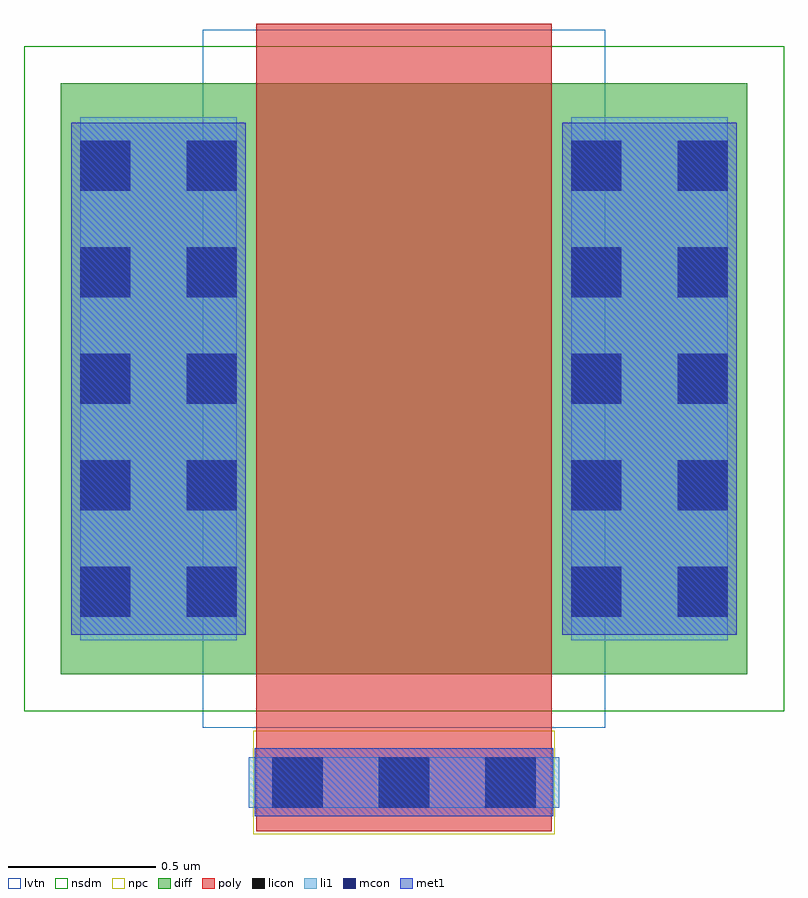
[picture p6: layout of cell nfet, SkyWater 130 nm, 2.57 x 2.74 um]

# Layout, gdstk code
import gdstk
lib = gdstk.Library(unit=1e-6, precision=5e-09)
def R(c, l, rs):  # rectangles x0, y0, x1, y1
    for r in rs: c.add(gdstk.rectangle(r[:2], r[2:], *l))
def A(c, l, x, y, w, h, nx, ny, dx, dy):  # array of equal rectangles
    R(c, l, [(x+i*dx, y+j*dy, x+i*dx+w, y+j*dy+h) for i in range(nx) for j in range(ny)])
diff = (65, 20)
poly = (66, 20)
licon = (66, 44)
li1 = (67, 20)
mcon = (67, 44)
met1 = (68, 20)
nsdm = (93, 44)
npc = (95, 20)
lvtn = (125, 44)

nfet = lib.new_cell('nfet')
R(nfet, diff, [(0,0,2.32,2)])
R(nfet, poly, [(0.66,-0.53,1.66,-0.2), (0.66,-0.2,1.66,2.2)])
A(nfet, licon, 0.715, -0.45, 0.17, 0.17, 3, 1, 0.36, 0)
A(nfet, licon, 0.065, 0.195, 0.17, 0.17, 1, 5, 0, 0.36)
A(nfet, licon, 0.425, 0.195, 0.17, 0.17, 1, 5, 0, 0.36)
A(nfet, licon, 1.725, 0.195, 0.17, 0.17, 1, 5, 0, 0.36)
A(nfet, licon, 2.085, 0.195, 0.17, 0.17, 1, 5, 0, 0.36)
R(nfet, li1, [(0.635,-0.45,1.685,-0.28), (0.065,0.115,0.595,1.885), (1.725,0.115,2.255,1.885)])
A(nfet, mcon, 0.715, -0.45, 0.17, 0.17, 3, 1, 0.36, 0)
A(nfet, mcon, 0.065, 0.195, 0.17, 0.17, 1, 5, 0, 0.36)
A(nfet, mcon, 0.425, 0.195, 0.17, 0.17, 1, 5, 0, 0.36)
A(nfet, mcon, 1.725, 0.195, 0.17, 0.17, 1, 5, 0, 0.36)
A(nfet, mcon, 2.085, 0.195, 0.17, 0.17, 1, 5, 0, 0.36)
R(nfet, met1, [(0.655,-0.48,1.665,-0.25), (0.035,0.135,0.625,1.865), (1.695,0.135,2.285,1.865)])
R(nfet, nsdm, [(-0.125,-0.125,2.445,2.125)])
R(nfet, npc, [(0.65,-0.54,1.67,-0.19)])
R(nfet, lvtn, [(0.48,-0.18,1.84,2.18)])

lib.write_gds('nfet.gds')
